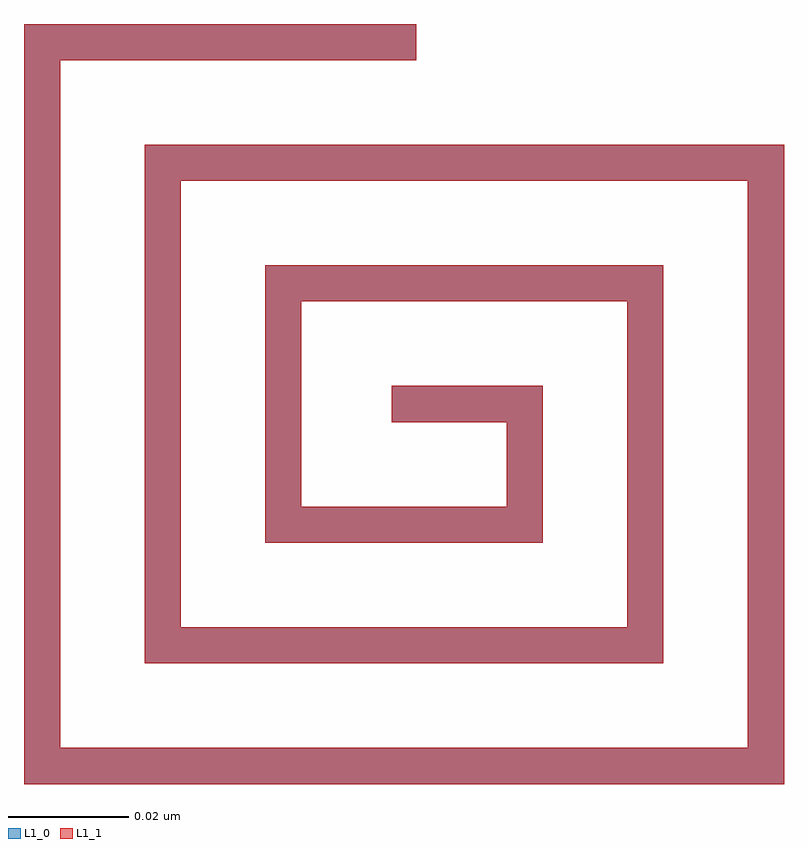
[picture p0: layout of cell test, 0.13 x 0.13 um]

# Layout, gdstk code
import gdstk
lib = gdstk.Library(unit=1e-6, precision=1e-09)
def R(c, l, rs):  # rectangles x0, y0, x1, y1
    for r in rs: c.add(gdstk.rectangle(r[:2], r[2:], *l))
def P(c, l, *ps):  # polygons
    for p in ps: c.add(gdstk.Polygon(p, *l))
L1_0 = (1, 0)
L1_1 = (1, 1)

test = lib.new_cell('test')
P(test, L1_0, [(-0.063,-0.063),(-0.063,0.063),(0.002,0.063),(0.002,0.057),(-0.057,0.057),(-0.057,-0.057),(0.057,-0.057),(0.057,0.037),(-0.037,0.037),(-0.037,-0.037),(0.037,-0.037),(0.037,0.017),(-0.017,0.017),(-0.017,-0.017),(0.017,-0.017),(0.017,-0.003),(-0.002,-0.003),(-0.002,0.003),(0.023,0.003),(0.023,-0.023),(-0.023,-0.023),(-0.023,0.023),(0.043,0.023),(0.043,-0.043),(-0.043,-0.043),(-0.043,0.043),(0.063,0.043),(0.063,-0.063),(-0.063,-0.063),(-0.063,-0.063)])
R(test, L1_1, [(-0.063,-0.063,-0.057,0.063), (-0.057,-0.063,0.057,-0.057), (0.057,-0.063,0.063,0.043), (-0.043,-0.043,-0.037,0.043), (-0.037,-0.043,0.037,-0.037), (0.037,-0.043,0.043,0.023), (-0.023,-0.023,-0.017,0.023), (-0.017,-0.023,0.017,-0.017), (0.017,-0.023,0.023,0.003), (-0.002,-0.003,0.017,0.003), (-0.017,0.017,0.037,0.023), (-0.037,0.037,0.057,0.043), (-0.057,0.057,0.002,0.063)])

lib.write_gds('test.gds')
